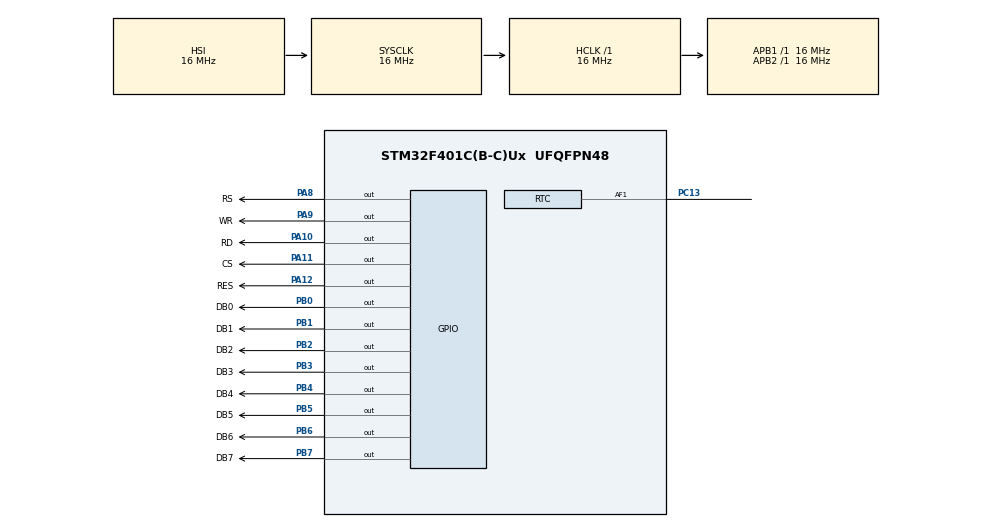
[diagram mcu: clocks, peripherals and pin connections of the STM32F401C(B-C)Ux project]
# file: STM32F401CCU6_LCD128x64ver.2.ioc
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Mcu.Family=STM32F4
Mcu.Name=STM32F401C(B-C)Ux
Mcu.Package=UFQFPN48
NVIC.PriorityGroup=NVIC_PRIORITYGROUP_4
PA10.GPIO_Label=RD
PA10.GPIO_Speed=GPIO_SPEED_FREQ_HIGH
PA10.PinState=GPIO_PIN_SET
PA10.Signal=GPIO_Output
PA11.GPIO_Label=CS
PA11.GPIO_Speed=GPIO_SPEED_FREQ_HIGH
PA11.PinState=GPIO_PIN_SET
PA11.Signal=GPIO_Output
PA12.GPIO_Label=RES
PA12.GPIO_Speed=GPIO_SPEED_FREQ_HIGH
PA12.PinState=GPIO_PIN_SET
PA12.Signal=GPIO_Output
PA13.Mode=Serial_Wire
PA13.Signal=SYS_JTMS-SWDIO
PA14.Mode=Serial_Wire
PA14.Signal=SYS_JTCK-SWCLK
PA8.GPIO_Label=RS
PA8.GPIO_Speed=GPIO_SPEED_FREQ_HIGH
PA8.Signal=GPIO_Output
PA9.GPIO_Label=WR
PA9.GPIO_Speed=GPIO_SPEED_FREQ_HIGH
PA9.PinState=GPIO_PIN_SET
PA9.Signal=GPIO_Output
PB0.GPIO_Label=DB0
PB0.GPIO_Speed=GPIO_SPEED_FREQ_HIGH
PB0.Signal=GPIO_Output
PB1.GPIO_Label=DB1
PB1.GPIO_Speed=GPIO_SPEED_FREQ_HIGH
PB1.Signal=GPIO_Output
PB2.GPIO_Label=DB2
PB2.GPIO_Speed=GPIO_SPEED_FREQ_HIGH
PB2.Signal=GPIO_Output
PB3.GPIO_Label=DB3
PB3.Signal=GPIO_Output
PB4.GPIO_Label=DB4
PB4.GPIO_Speed=GPIO_SPEED_FREQ_HIGH
PB4.Signal=GPIO_Output
PB5.GPIO_Label=DB5
PB5.GPIO_Speed=GPIO_SPEED_FREQ_HIGH
PB5.Signal=GPIO_Output
PB6.GPIO_Label=DB6
PB6.GPIO_Speed=GPIO_SPEED_FREQ_HIGH
PB6.Signal=GPIO_Output
PB7.GPIO_Label=DB7
PB7.GPIO_Speed=GPIO_SPEED_FREQ_HIGH
PB7.Signal=GPIO_Output
PC13-ANTI_TAMP.Mode=Calibration_1Hz
PC13-ANTI_TAMP.Signal=RTC_AF1
PC14-OSC32_IN.Mode=LSE-External-Oscillator
PC14-OSC32_IN.Signal=RCC_OSC32_IN
PC15-OSC32_OUT.Mode=LSE-External-Oscillator
PC15-OSC32_OUT.Signal=RCC_OSC32_OUT
PH0\ -\ OSC_IN.Mode=HSE-External-Oscillator
PH0\ -\ OSC_IN.Signal=RCC_OSC_IN
PH1\ -\ OSC_OUT.Mode=HSE-External-Oscillator
PH1\ -\ OSC_OUT.Signal=RCC_OSC_OUT
ProjectManager.HeapSize=0x200
ProjectManager.StackSize=0x400
ProjectManager.TargetToolchain=STM32CubeIDE
RCC.AHBFreq_Value=16000000
RCC.APB1Freq_Value=16000000
RCC.APB2Freq_Value=16000000
RCC.CortexFreq_Value=16000000
RCC.HSE_VALUE=25000000
RCC.HSI_VALUE=16000000
RCC.RCC_RTC_Clock_Source=RCC_RTCCLKSOURCE_LSE
RCC.SYSCLKFreq_VALUE=16000000
RCC.VCOOutputFreq_Value=192000000
RTC.Date=11
RTC.Hours=20
RTC.Minutes=40
RTC.Month=RTC_MONTH_NOVEMBER
RTC.WakeUpClock=RTC_WAKEUPCLOCK_CK_SPRE_16BITS
RTC.Year=25
VP_RTC_VS_RTC_Activate.Mode=RTC_Enabled
VP_RTC_VS_RTC_Calendar.Mode=RTC_Calendar
VP_RTC_VS_RTC_WakeUp_intern.Mode=WakeUp
board=custom

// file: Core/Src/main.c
/* USER CODE BEGIN Header */
/**
  ******************************************************************************
  * @file           : main.c
  * @brief          : Main program body
  ******************************************************************************
  * @attention
  *
  * Copyright (c) 2025 STMicroelectronics.
  * All rights reserved.
  *
  * This software is licensed under terms that can be found in the LICENSE file
  * in the root directory of this software component.
  * If no LICENSE file comes with this software, it is provided AS-IS.
  *
  ******************************************************************************
  */
/* USER CODE END Header */
#include "main.h"
#include "st7565s_8080.h"
#include "st7565s_gfx.h"
#include <string.h>
#include <stdio.h>

/* USER CODE BEGIN PTD */
  RTC_TimeTypeDef sTime = {0};
  RTC_DateTypeDef sDate = {0};
/* USER CODE END PTD */

RTC_HandleTypeDef hrtc;

/* USER CODE BEGIN PV */
//uint8_t framebuf[LCD_WIDTH * LCD_PAGES]; // 128*8 = 1024 байта
static uint8_t framebuf[LCD_WIDTH * (LCD_HEIGHT/8)];
extern uint8_t framebuf[]; // ваш буфер 128*64/8
static const char* WDN[8] = {"", "Mon", "Tue", "Wed", "Thu", "Fri", "Sat", "Sun"}; // RTC_WeekDay 1..7
static const char* DOW_RU2[8] = {"", "ПН", "ВТ", "СР", "ЧТ", "ПТ", "СБ", "ВС"}; // 1..7
static const char* DOW_RU_FULL_UP[8] = {"", "ПОНЕДЕЛЬНИК", "ВТОРНИК", "СРЕДА", "ЧЕТВЕРГ", "ПЯТНИЦА", "СУББОТА", "ВОСКРЕСЕНЬЕ"};
/* USER CODE END PV */

void SystemClock_Config(void);
static void MX_GPIO_Init(void);
static void MX_RTC_Init(void);

/* USER CODE BEGIN 0 */
static void fb_clear(uint8_t v){
  memset(framebuf, v ? 0xFF : 0x00, sizeof(framebuf));
}

static void draw_time_date(const RTC_TimeTypeDef* t, const RTC_DateTypeDef* d){
  // Очистка экрана
  memset(framebuf, 0x00, LCD_WIDTH * (LCD_HEIGHT/8));

  // Форматируем строки
  char time_str[12];
  char date_str[24];

  // Мигающая двоеточия (по желанию):
//   char csep = (t->Seconds & 1) ? ':' : ' ';
//   snprintf(time_str, sizeof(time_str), "%02u%c%02u%c%02u", t->Hours, csep, t->Minutes, csep, t->Seconds);

  snprintf(time_str, sizeof(time_str), "%02u:%02u:%02u", t->Hours, t->Minutes, t->Seconds);
  uint16_t year = 2000u + d->Year; // если RTC.Year хранит 0..99

  // "DD.MM.YYYY, DOW"
  snprintf(date_str, sizeof(date_str), "%02u.%02u.%04u, %s", d->Date, d->Month, year,
           (d->WeekDay >=1 && d->WeekDay <=7) ? WDN[d->WeekDay] : "---");

  // Позиционирование по центру
  uint8_t scale_time = 2; // крупнее
  int w_time = GFX_TextWidth(time_str, scale_time);
  int x_time = (LCD_WIDTH - w_time) / 2;
  int y_time = 8; // отступ сверху

  int w_date = GFX_TextWidth(date_str, 1);
  int x_date = (LCD_WIDTH - w_date) / 2;
  int y_date = 40; // ниже

  // Рисуем
  GFX_DrawStringScaled(framebuf, x_time, y_time, time_str, 1, scale_time);
  GFX_DrawString(framebuf,       x_date, y_date, date_str, 1);
}

static void draw_time_date_ru(const RTC_TimeTypeDef* t, const RTC_DateTypeDef* d){
  memset(framebuf, 0x00, LCD_WIDTH * (LCD_HEIGHT/8));

  char time_str[12];
  snprintf(time_str, sizeof(time_str), "%02u:%02u:%02u", t->Hours, t->Minutes, t->Seconds);

  char date_str[32];
  uint16_t year = 2000u + d->Year; // если Year=0..99
  const char* dow = (d->WeekDay>=1 && d->WeekDay<=7) ? DOW_RU2[d->WeekDay] : "--";
  // "ДД.ММ.ГГГГ, ПН"
  snprintf(date_str, sizeof(date_str), "%02u.%02u.%04u, %s", d->Date, d->Month, year, dow);

  // Центровка
  uint8_t scale_time = 2;
  int w_time = GFX_TextWidth(time_str, scale_time);
  int x_time = (LCD_WIDTH - w_time)/2;
  int y_time = 8;

  // Для UTF-8 ширину оцениваем приближенно через ASCII ширину:
  // каждая буква/цифра ~6px, scale=1
  int w_date = (int)strlen(date_str) * 6;
  int x_date = (LCD_WIDTH - w_date)/2;
  int y_date = 40;

  // Часы крупно (ASCII)
  GFX_DrawStringScaled(framebuf, x_time, y_time, time_str, 1, scale_time);
  // Дата и день недели — UTF-8 (рус)
  GFX_DrawStringUTF8_RU(framebuf, x_date, y_date, date_str, 1, 1);
}

static void draw_time_date_ru_full(const RTC_TimeTypeDef* t, const RTC_DateTypeDef* d){
  memset(framebuf, 0x00, LCD_WIDTH * (LCD_HEIGHT/8));

  // Время HH:MM:SS крупно (×2)
  char time_str[12];
  snprintf(time_str, sizeof(time_str), "%02u:%02u:%02u", t->Hours, t->Minutes, t->Seconds);
  uint8_t scale_time = 2;
  int w_time = GFX_TextWidth(time_str, scale_time);
  int x_time = (LCD_WIDTH - w_time)/2;
  int y_time = 4; // чуть ближе к верху
  GFX_DrawStringScaled(framebuf, x_time, y_time, time_str, 1, scale_time);

  // Дата "DD.MM.YYYY"
  char date_str[20];
  uint16_t year = 2000u + d->Year; // если Year=0..99
  snprintf(date_str, sizeof(date_str), "%02u.%02u.%04u", d->Date, d->Month, year);
  int w_date = GFX_TextWidth(date_str, 1);
  int x_date = (LCD_WIDTH - w_date)/2;
  int y_date = 36; // под временем
  GFX_DrawString(framebuf, x_date, y_date, date_str, 1);

  // День недели — ВЕРХНИМ РЕГИСТРОМ, под датой
  const char* dow = (d->WeekDay>=1 && d->WeekDay<=7) ? DOW_RU_FULL_UP[d->WeekDay] : "---";
  int w_dow = GFX_TextWidthUTF8_RU(dow, 1);
  int x_dow = (LCD_WIDTH - w_dow)/2;
  int y_dow = y_date + 10; // на 1 строку ниже
  GFX_DrawStringUTF8_RU(framebuf, x_dow, y_dow, dow, 1, 1);
}
/* USER CODE END 0 */

int main(void)
{

  /* MCU Configuration--------------------------------------------------------*/

  /* Reset of all peripherals, Initializes the Flash interface and the Systick. */
  HAL_Init();

  /* Configure the system clock */
  SystemClock_Config();

  /* Initialize all configured peripherals */
  MX_GPIO_Init();
  MX_RTC_Init();
  /* USER CODE BEGIN 2 */
  ST7565S_Init();

  // Было в инициализации: EV ~ 0x18. Уменьшаем:
  ST7565S_SetContrast(0x10); // мягче
  // Если всё ещё слишком тёмно:
//  ST7565S_SetContrast(0x0C);
//  ST7565S_SetContrast(0x08);

  fb_clear(0); // гасим фон
//    GFX_DrawString(framebuf, 8,  0, "HELLO, ST7565S!", 1);
//    GFX_DrawString(framebuf, 8, 16, "STM32F401 + HAL", 1);
//    GFX_DrawString(framebuf, 8, 32, "CubeIDE OK :)",   1);

//    ST7565S_DrawBuffer(framebuf);
  static uint8_t prevSeconds = 255;
  /* USER CODE END 2 */

  /* Infinite loop */
  /* USER CODE BEGIN WHILE */
  while (1)
  {
	  // Чтение времени
	  HAL_RTC_GetTime(&hrtc, &sTime, RTC_FORMAT_BIN);
	    HAL_RTC_GetDate(&hrtc, &sDate, RTC_FORMAT_BIN); // обязательно после GetTime

	    if (sTime.Seconds != prevSeconds)
	    {
//	      draw_time_date(&sTime, &sDate);
//	      draw_time_date_ru(&sTime, &sDate);
	    	draw_time_date_ru_full(&sTime, &sDate);
	      ST7565S_DrawBuffer(framebuf);
	      prevSeconds = sTime.Seconds;
	    }

    /* USER CODE END WHILE */

  }
}

void SystemClock_Config(void)
{
  RCC_OscInitTypeDef RCC_OscInitStruct = {0};
  RCC_ClkInitTypeDef RCC_ClkInitStruct = {0};

  /** Configure the main internal regulator output voltage
  */
  __HAL_RCC_PWR_CLK_ENABLE();
  __HAL_PWR_VOLTAGESCALING_CONFIG(PWR_REGULATOR_VOLTAGE_SCALE2);

  /** Initializes the RCC Oscillators according to the specified parameters
  * in the RCC_OscInitTypeDef structure.
  */
  RCC_OscInitStruct.OscillatorType = RCC_OSCILLATORTYPE_HSI|RCC_OSCILLATORTYPE_LSE;
  RCC_OscInitStruct.LSEState = RCC_LSE_ON;
  RCC_OscInitStruct.HSIState = RCC_HSI_ON;
  RCC_OscInitStruct.HSICalibrationValue = RCC_HSICALIBRATION_DEFAULT;
  RCC_OscInitStruct.PLL.PLLState = RCC_PLL_NONE;
  if (HAL_RCC_OscConfig(&RCC_OscInitStruct) != HAL_OK)
  {
    Error_Handler();
  }

  /** Initializes the CPU, AHB and APB buses clocks
  */
  RCC_ClkInitStruct.ClockType = RCC_CLOCKTYPE_HCLK|RCC_CLOCKTYPE_SYSCLK
                              |RCC_CLOCKTYPE_PCLK1|RCC_CLOCKTYPE_PCLK2;
  RCC_ClkInitStruct.SYSCLKSource = RCC_SYSCLKSOURCE_HSI;
  RCC_ClkInitStruct.AHBCLKDivider = RCC_SYSCLK_DIV1;
  RCC_ClkInitStruct.APB1CLKDivider = RCC_HCLK_DIV1;
  RCC_ClkInitStruct.APB2CLKDivider = RCC_HCLK_DIV1;

  if (HAL_RCC_ClockConfig(&RCC_ClkInitStruct, FLASH_LATENCY_0) != HAL_OK)
  {
    Error_Handler();
  }
}

static void MX_RTC_Init(void)
{

  RTC_TimeTypeDef sTime = {0};
  RTC_DateTypeDef sDate = {0};

  /** Initialize RTC Only
  */
  hrtc.Instance = RTC;
  hrtc.Init.HourFormat = RTC_HOURFORMAT_24;
  hrtc.Init.AsynchPrediv = 127;
  hrtc.Init.SynchPrediv = 255;
  hrtc.Init.OutPut = RTC_OUTPUT_DISABLE;
  hrtc.Init.OutPutPolarity = RTC_OUTPUT_POLARITY_HIGH;
  hrtc.Init.OutPutType = RTC_OUTPUT_TYPE_OPENDRAIN;
  if (HAL_RTC_Init(&hrtc) != HAL_OK)
  {
    Error_Handler();
  }

  /** Initialize RTC and set the Time and Date
  */
  sTime.Hours = 0x21;
  sTime.Minutes = 0x16;
  sTime.Seconds = 0x0;
  sTime.DayLightSaving = RTC_DAYLIGHTSAVING_NONE;
  sTime.StoreOperation = RTC_STOREOPERATION_RESET;
  if (HAL_RTC_SetTime(&hrtc, &sTime, RTC_FORMAT_BCD) != HAL_OK)
  {
    Error_Handler();
  }
  sDate.WeekDay = RTC_WEEKDAY_SUNDAY;
  sDate.Month = RTC_MONTH_NOVEMBER;
  sDate.Date = 0x24;
  sDate.Year = 0x25;

  if (HAL_RTC_SetDate(&hrtc, &sDate, RTC_FORMAT_BCD) != HAL_OK)
  {
    Error_Handler();
  }

  /** Enable the WakeUp
  */
  if (HAL_RTCEx_SetWakeUpTimer(&hrtc, 0, RTC_WAKEUPCLOCK_CK_SPRE_16BITS) != HAL_OK)
  {
    Error_Handler();
  }

  /** Enable Calibrartion
  */
  if (HAL_RTCEx_SetCalibrationOutPut(&hrtc, RTC_CALIBOUTPUT_1HZ) != HAL_OK)
  {
    Error_Handler();
  }

}

static void MX_GPIO_Init(void)
{
  GPIO_InitTypeDef GPIO_InitStruct = {0};

  /* GPIO Ports Clock Enable */
  __HAL_RCC_GPIOC_CLK_ENABLE();
  __HAL_RCC_GPIOH_CLK_ENABLE();
  __HAL_RCC_GPIOB_CLK_ENABLE();
  __HAL_RCC_GPIOA_CLK_ENABLE();

  /*Configure GPIO pin Output Level */
  HAL_GPIO_WritePin(GPIOB, DB0_Pin|DB1_Pin|DB2_Pin|DB3_Pin
                          |DB4_Pin|DB5_Pin|DB6_Pin|DB7_Pin, GPIO_PIN_RESET);

  /*Configure GPIO pin Output Level */
  HAL_GPIO_WritePin(RS_GPIO_Port, RS_Pin, GPIO_PIN_RESET);

  /*Configure GPIO pin Output Level */
  HAL_GPIO_WritePin(GPIOA, WR_Pin|RD_Pin|CS_Pin|RES_Pin, GPIO_PIN_SET);

  /*Configure GPIO pins : DB0_Pin DB1_Pin DB2_Pin DB4_Pin
                           DB5_Pin DB6_Pin DB7_Pin */
  GPIO_InitStruct.Pin = DB0_Pin|DB1_Pin|DB2_Pin|DB4_Pin
                          |DB5_Pin|DB6_Pin|DB7_Pin;
  GPIO_InitStruct.Mode = GPIO_MODE_OUTPUT_PP;
  GPIO_InitStruct.Pull = GPIO_NOPULL;
  GPIO_InitStruct.Speed = GPIO_SPEED_FREQ_HIGH;
  HAL_GPIO_Init(GPIOB, &GPIO_InitStruct);

  /*Configure GPIO pins : RS_Pin WR_Pin RD_Pin CS_Pin
                           RES_Pin */
  GPIO_InitStruct.Pin = RS_Pin|WR_Pin|RD_Pin|CS_Pin
                          |RES_Pin;
  GPIO_InitStruct.Mode = GPIO_MODE_OUTPUT_PP;
  GPIO_InitStruct.Pull = GPIO_NOPULL;
  GPIO_InitStruct.Speed = GPIO_SPEED_FREQ_HIGH;
  HAL_GPIO_Init(GPIOA, &GPIO_InitStruct);

  /*Configure GPIO pin : DB3_Pin */
  GPIO_InitStruct.Pin = DB3_Pin;
  GPIO_InitStruct.Mode = GPIO_MODE_OUTPUT_PP;
  GPIO_InitStruct.Pull = GPIO_NOPULL;
  GPIO_InitStruct.Speed = GPIO_SPEED_FREQ_LOW;
  HAL_GPIO_Init(DB3_GPIO_Port, &GPIO_InitStruct);

}

void Error_Handler(void)
{
  __disable_irq();
  while (1)
  {
  }
}
